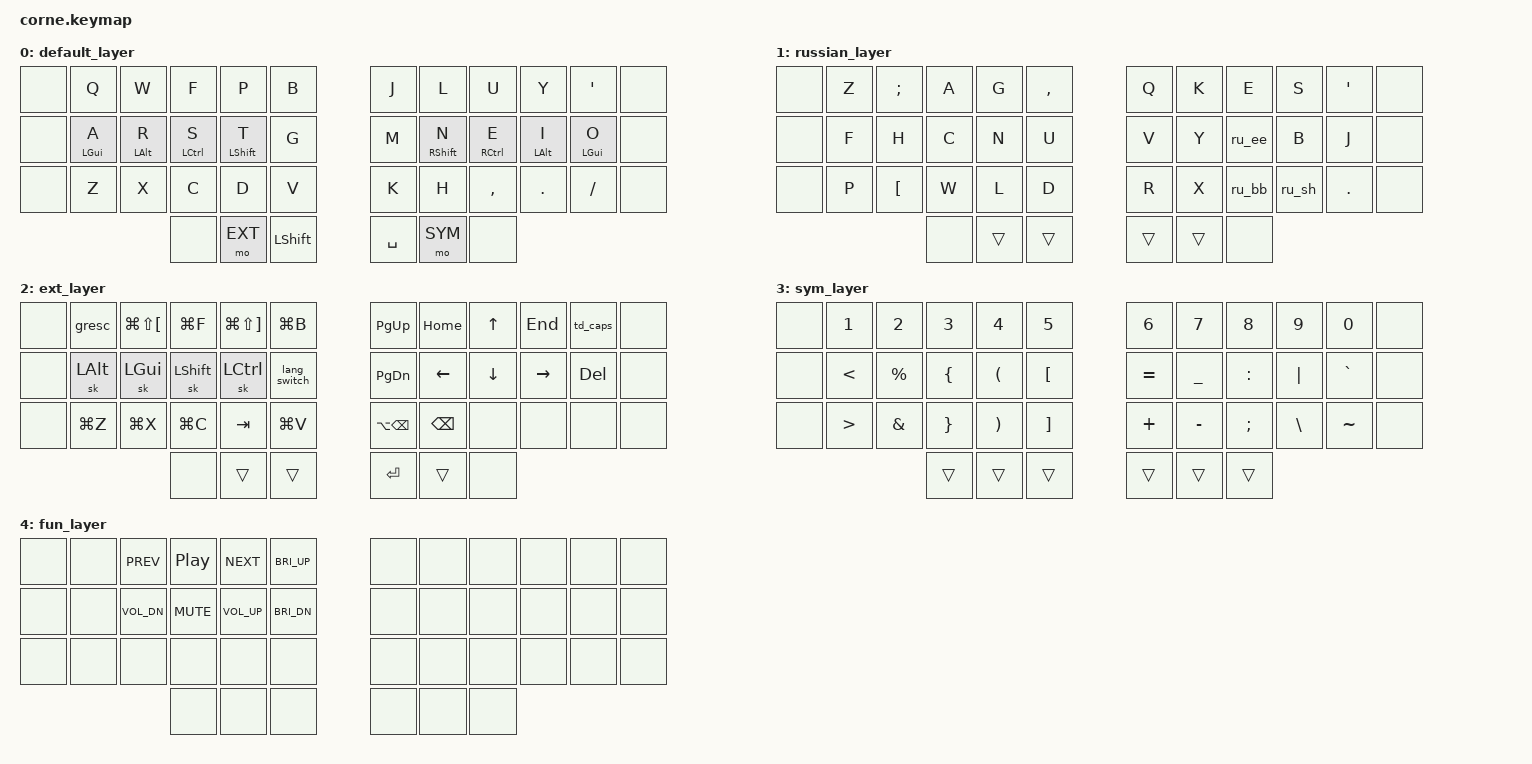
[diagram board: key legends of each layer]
/*
 * Copyright (c) 2020 The ZMK Contributors
 *
 * SPDX-License-Identifier: MIT
 */

#include <behaviors.dtsi>
#include <dt-bindings/zmk/keys.h>
#include <dt-bindings/zmk/bt.h>
#include <dt-bindings/zmk/ext_power.h>
#include <dt-bindings/zmk/outputs.h>

#define BAS 0
#define RUS 1
#define EXT 2
#define SYM 3
#define FUN 4

/ {
        behaviors {
                        hm: homerow_mods {
            compatible = "zmk,behavior-hold-tap";
            label = "homerow mods";
            #binding-cells = <2>;
            tapping_term_ms = <200>;
            flavor = "tap-preferred";
            bindings = <&kp>, <&kp>;
        };

                td_caps: td_caps {
                        compatible = "zmk,behavior-tap-dance";
                        label = "Caps Word / Caps Lock";
                        #binding-cells = <0>;
                        tapping-term-ms = <200>;
                        bindings = <&caps_word>, <&kp CAPS>;
                };

                ru_ee: ru_ee {
                        compatible = "zmk,behavior-tap-dance";
                        label = "Russian Е / Ё";
                        #binding-cells = <0>;
                        tapping-term-ms = <200>;
                        bindings = <&kp T>, <&kp BSLH>;
                };

                ru_bb: ru_bb {
                        compatible = "zmk,behavior-tap-dance";
                        label = "Russian Ь / Ъ";
                        #binding-cells = <0>;
                        tapping-term-ms = <200>;
                        bindings = <&kp M>, <&kp RBKT>, <&kp KP_COMMA>;
                };

                ru_sh: ru_sh {
                        compatible = "zmk,behavior-tap-dance";
                        label = "Russian Ш / Щ";
                        #binding-cells = <0>;
                        tapping-term-ms = <200>;
                        bindings = <&kp I>, <&kp O>, <&kp KP_DOT>;
                };
        };

        macros {
                lang_switch: lang_switch {
                        label = "Language toggle";
                        compatible = "zmk,behavior-macro";
                        #binding-cells = <0>;
                        wait-ms = <40>;
                        tap-ms = <40>;
                        bindings
                                = <&macro_press &kp LGUI>
                                , <&tog RUS>
                                , <&macro_tap &kp SPACE>
                                , <&macro_release &kp LGUI>
                                ;
                };
        };

        conditional_layers {
                compatible = "zmk,conditional-layers";
                tri_layer {
                        if-layers = <2 3>;
                        then-layer = <4>;
                };
        };

        keymap {
                compatible = "zmk,keymap";

                default_layer {
                        bindings = <
   &none &kp Q &kp W &kp F &kp P &kp B    &kp J &kp L  &kp U     &kp Y   &kp SQT  &none
   &none &hm LGUI A &hm LALT R &hm LCTRL S &hm LSHFT T &kp G    &kp M &hm RSHFT N  &hm RCTRL E     &hm LALT I   &hm LGUI O    &none
   &none &kp Z &kp X &kp C &kp D &kp V    &kp K &kp H  &kp COMMA &kp DOT &kp FSLH &none
               &none &mo EXT &kp LSHFT    &kp SPACE &mo SYM &none
                        >;
                };



//                 default_layer {
//                         bindings = <
//    &none &kp Q &kp W &kp F &kp P &kp B    &kp J &kp L  &kp U     &kp Y   &kp SQT  &none
//    &none &kp A &kp R &kp S &kp T &kp G    &kp M &kp N  &kp E     &kp I   &kp O    &none
//    &none &kp Z &kp X &kp C &kp D &kp V    &kp K &kp H  &kp COMMA &kp DOT &kp FSLH &none
//                &none &mo EXT &kp LSHFT    &kp SPACE &mo SYM &none
//                         >;
//                 };

                russian_layer {
                        bindings = <
   &none &kp Z &kp SEMI &kp A &kp G &kp COMMA     &kp Q &kp K &kp E  &kp S  &kp SQT &none
   &none &kp F &kp H    &kp C &kp N &kp U         &kp V &kp Y &ru_ee &kp B  &kp J   &none
   &none &kp P &kp LBKT &kp W &kp L &kp D         &kp R &kp X &ru_bb &ru_sh &kp DOT &none
                        &none &trans &trans       &trans &trans &none
                        >;
                };


                ext_layer {
                        bindings = <
   &none &gresc    &kp LG(LS(LBKT)) &kp LG(F) &kp LG(LS(RBKT)) &kp LG(B)       &kp PG_UP    &kp HOME &kp UP   &kp END   &td_caps &none
   &none &sk LALT  &sk LGUI         &sk LSHFT &sk LCTRL        &lang_switch    &kp PG_DN    &kp LEFT &kp DOWN &kp RIGHT &kp DEL  &none
   &none &kp LG(Z) &kp LG(X)        &kp LG(C) &kp TAB          &kp LG(V)       &kp LA(BSPC) &kp BSPC &none    &none     &none    &none
                                    &none     &trans           &trans          &kp RET      &trans   &none
                        >;
                };

                sym_layer {
                        bindings = <
   &none &kp N1  &kp N2    &kp N3   &kp N4    &kp N5       &kp N6    &kp N7    &kp N8    &kp N9   &kp N0    &none
   &none &kp LT  &kp PRCNT &kp LBRC &kp LPAR  &kp LBKT     &kp EQUAL &kp UNDER &kp COLON &kp PIPE &kp GRAVE &none
   &none &kp GT  &kp AMPS  &kp RBRC &kp RPAR  &kp RBKT     &kp PLUS  &kp MINUS &kp SEMI  &kp BSLH &kp TILDE &none
                                    &trans &trans &trans   &trans &trans &trans
                        >;
                };

//                 sym_layer {
//                         bindings = <
//    &none &kp EXCL  &kp AT    &kp HASH &kp COLON &kp SEMI   &kp EQUAL &kp N4 &kp N5 &kp N6 &kp PLUS  &none
//    &none &kp BSLH  &kp PRCNT &kp LBRC &kp LPAR  &kp LBKT   &kp N0    &kp N1 &kp N2 &kp N3 &kp MINUS &none
//    &none &kp GRAVE &kp UNDER &kp RBRC &kp RPAR  &kp RBKT   &kp STAR  &kp N7 &kp N8 &kp N9 &kp FSLH  &none
//                                     &trans &trans &trans   &trans &trans &trans
//                         >;
//                 };

                fun_layer {
                        bindings = <
   &none &none &kp C_PREV   &kp C_PP   &kp C_NEXT   &kp C_BRI_UP    &none &none &none &none &none &none
   &none &none &kp C_VOL_DN &kp C_MUTE &kp C_VOL_UP &kp C_BRI_DN    &none &none &none &none &none &none
   &none &none &none        &none      &none        &none           &none &none &none &none &none &none
                     &none &none &none    &none &none &none
                        >;
                };
        };
};
